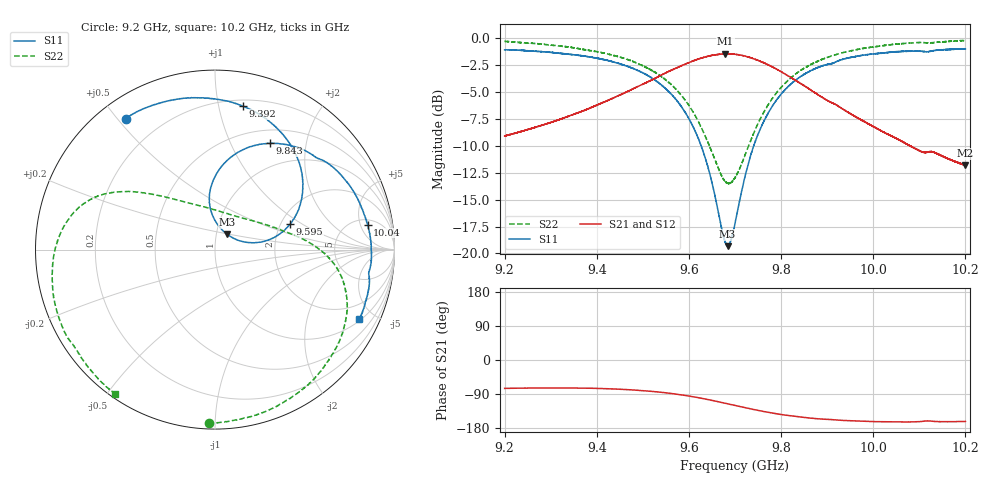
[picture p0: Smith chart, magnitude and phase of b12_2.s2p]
!Agilent Technologies,N5242A,MY51221714,A.09.90.19
!Agilent N5242A: A.09.90.19
!Date: Saturday, March 16, 2024 09:25:51
!Correction: S11(Full 2 Port(1,2))
!S21(Full 2 Port(1,2))
!S12(Full 2 Port(1,2))
!S22(Full 2 Port(1,2))
!S2P File: Measurements: S11, S21, S12, S22:
# Hz S  dB  R 50
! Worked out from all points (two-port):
!   16001 points, 9.2 GHz to 10.2 GHz, reference 50 ohm
!   highest |S21| = -1.43 dB at 9.679 GHz (marker M1); lowest = -11.8 dB at 10.2 GHz (marker M2)
!   |S21| within 3 dB of the highest: 9.49108 GHz to 9.491277 GHz (196.6 kHz wide, 0.00207 % of centre); 9.491 GHz to 9.851 GHz (359.7 MHz wide, 3.72 % of centre)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
!   lowest |S11| = -19.3 dB at 9.684 GHz (marker M3), VSWR 1.24, Z = 56.3 + j9.69 ohm
!   |S11| at or under -10 dB: 9.627 GHz to 9.741 GHz (113.9 MHz wide, 1.18 % of centre)
!   |S22| runs from -13.5 to -0.2 dB; largest |S21 - S12| = 0.011
!   S11 on the Smith chart (normalised r, x): 9.2 GHz: 0.08, +0.53; 9.392 GHz: 0.25, +1.18; 9.595 GHz: 2.25, +0.79; 9.843 GHz: 0.67, +1.42; 10.04 GHz: 6.18, +6.67; 10.2 GHz: 1.07, -4.10
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9.2e9  -1.07 124.3  -9.08 -74.9  -9.06 -75.5  -0.27 -92.1
9.277688e9  -1.23 106.7  -8.12 -73.9  -8.11 -74.4  -0.53 -70.7
9.366688e9  -1.61 85.6  -6.81 -74.3  -6.77 -74.8  -0.99 -46.9
9.391812e9  -1.78 79.2  -6.37 -74.7  -6.34 -75.3  -1.18 -40.5
9.461125e9  -2.51 60.3  -5.05 -77.9  -5.04 -78.4  -1.89 -23.8
9.533375e9  -4.10 38.4  -3.56 -84.4  -3.55 -84.9  -3.35 -7.9
9.594688e9  -7.08 18.6  -2.35 -94.1  -2.34 -94.6  -5.91 5.9
9.635938e9  -11.20 9.5  -1.73 -103.1  -1.72 -103.7  -9.16 20.9
9.679188e9  -18.95 40.5  -1.43 -114.3  -1.43 -114.8  -13.32 62.3
9.683938e9  -19.32 51.8  -1.44 -115.5  -1.43 -116.1  -13.47 69.3
9.7e9  -17.22 83.0  -1.48 -119.9  -1.46 -120.5  -12.96 93.2
9.72875e9  -11.67 96.8  -1.73 -127.7  -1.72 -128.3  -10.09 122.2
9.756375e9  -8.27 91.5  -2.16 -134.4  -2.15 -135.0  -7.37 135.6
9.801625e9  -5.10 76.9  -3.14 -144.0  -3.14 -144.7  -4.48 147.2
9.843438e9  -3.52 62.6  -4.22 -150.8  -4.22 -151.3  -2.96 154.9
9.866688e9  -2.97 55.1  -4.88 -153.7  -4.85 -154.3  -2.39 159.2
9.953375e9  -1.76 30.1  -7.09 -160.6  -7.07 -161.2  -1.14 176.5
1.003338e10  -1.31 9.9  -8.94 -163.1  -8.95 -163.7  -0.62 -165.7
1.003588e10  -1.29 9.3  -9.02 -163.1  -9.01 -163.8  -0.60 -165.2
1.010406e10  -1.19 -6.4  -10.52 -162.2  -10.52 -162.8  -0.39 -149.2
1.019956e10  -0.98 -25.7  -11.81 -162.2  -11.79 -162.9  -0.20 -125.0
1.02e10  -0.98 -25.8  -11.80 -162.2  -11.78 -162.9  -0.20 -124.9
